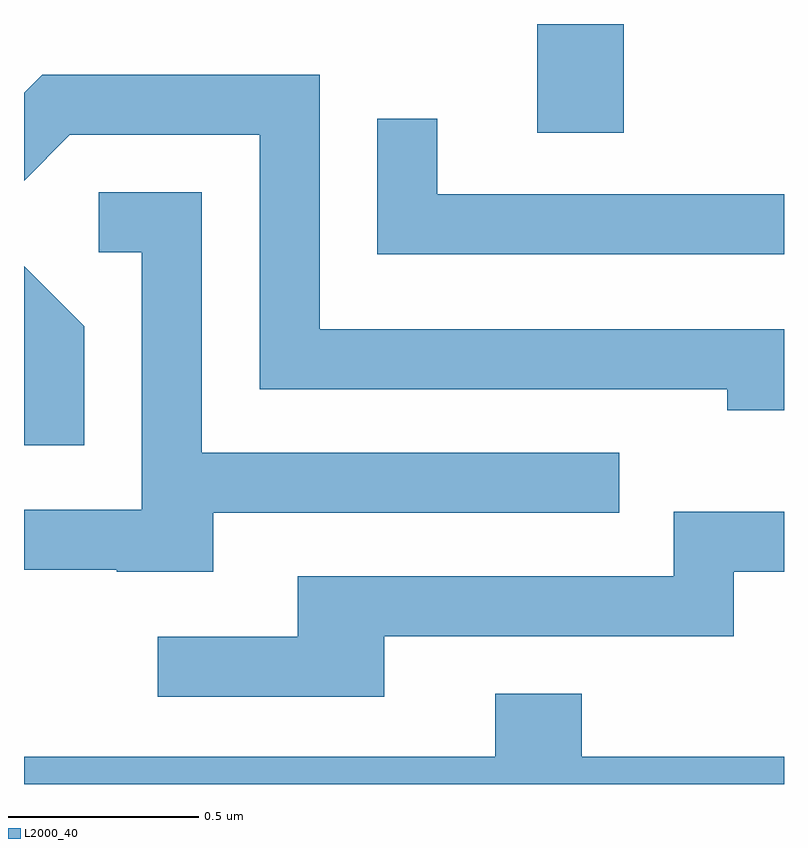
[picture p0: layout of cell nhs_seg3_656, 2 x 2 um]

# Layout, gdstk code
import gdstk
lib = gdstk.Library(unit=1e-6, precision=1e-09)
def R(c, l, rs):  # rectangles x0, y0, x1, y1
    for r in rs: c.add(gdstk.rectangle(r[:2], r[2:], *l))
def P(c, l, *ps):  # polygons
    for p in ps: c.add(gdstk.Polygon(p, *l))
L2000_40 = (2000, 40)

nhs_seg3_656 = lib.new_cell('nhs_seg3_656')
R(nhs_seg3_656, L2000_40, [(190.961,1225.606,191.189,1225.892)])
P(nhs_seg3_656, L2000_40, [(191.611,1225.089),(190.389,1225.089),(190.389,1225.759),(189.659,1225.759),(189.611,1225.711),(189.611,1225.48),(189.732,1225.601),(190.231,1225.601),(190.231,1224.931),(191.461,1224.931),(191.461,1224.876),(191.611,1224.876)],
  [(191.611,1225.444),(190.699,1225.444),(190.699,1225.643),(190.541,1225.643),(190.541,1225.286),(191.611,1225.286)],
  [(190.109,1224.606),(191.178,1224.606),(191.178,1224.764),(190.079,1224.764),(190.079,1225.449),(189.808,1225.449),(189.808,1225.291),(189.921,1225.291),(189.921,1224.614),(189.611,1224.614),(189.611,1224.456),(189.855,1224.456),(189.855,1224.451),(190.109,1224.451)],
  [(189.769,1225.097),(189.611,1225.255),(189.611,1224.783),(189.769,1224.783)],
  [(190.559,1224.281),(191.479,1224.281),(191.479,1224.451),(191.611,1224.451),(191.611,1224.609),(191.321,1224.609),(191.321,1224.439),(190.331,1224.439),(190.331,1224.279),(189.963,1224.279),(189.963,1224.121),(190.559,1224.121)],
  [(191.611,1223.964),(191.079,1223.964),(191.079,1224.129),(190.851,1224.129),(190.851,1223.964),(189.611,1223.964),(189.611,1223.892),(191.611,1223.892)])

lib.write_gds('nhs_seg3_656.gds')
